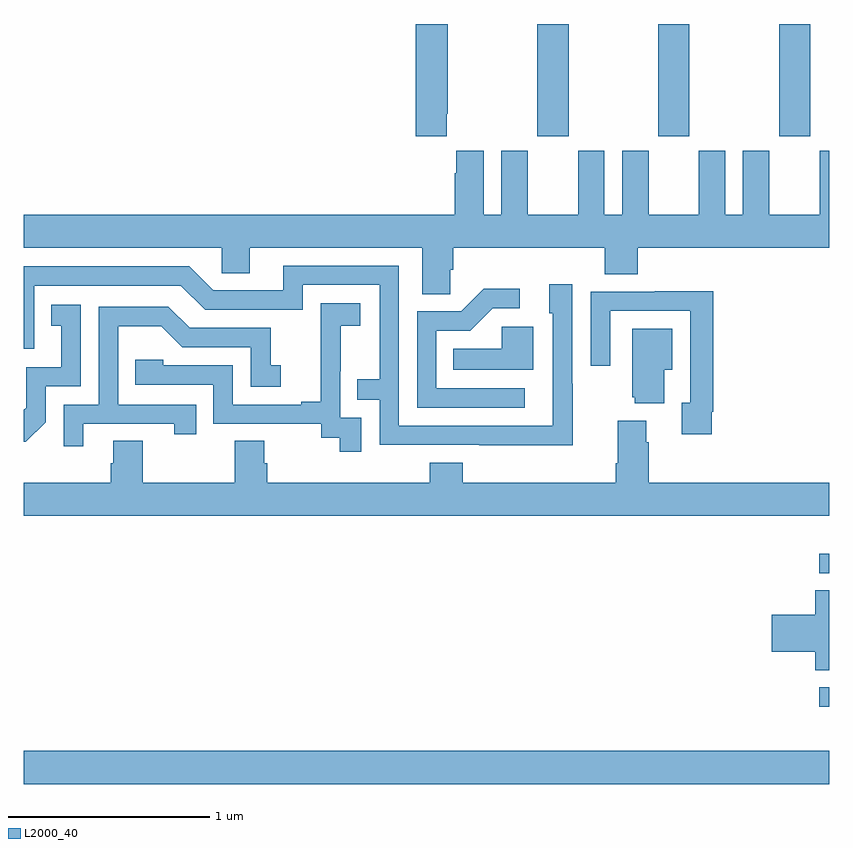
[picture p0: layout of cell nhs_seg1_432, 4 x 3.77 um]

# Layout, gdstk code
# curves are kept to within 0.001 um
import gdstk
lib = gdstk.Library(unit=1e-6, precision=1e-09)
def R(c, l, rs):  # rectangles x0, y0, x1, y1
    for r in rs: c.add(gdstk.rectangle(r[:2], r[2:], *l))
def A(c, l, x, y, w, h, nx, ny, dx, dy):  # array of equal rectangles
    R(c, l, [(x+i*dx, y+j*dy, x+i*dx+w, y+j*dy+h) for i in range(nx) for j in range(ny)])
def P(c, l, *ps):  # polygons
    for p in ps: c.add(gdstk.Polygon(p, *l))
L2000_40 = (2000, 40)

nhs_seg1_432 = lib.new_cell('nhs_seg1_432')
A(nhs_seg1_432, L2000_40, 137.551, 529.641, 0.155, 0.558, 3, 1, 0.6, 0)
R(nhs_seg1_432, L2000_40, [(135,526.424,139,526.588), (138.951,526.807,139,526.905), (138.951,527.472,139,527.568)])
P(nhs_seg1_432, L2000_40, [(137.101,529.753),(137.106,529.753),(137.106,530.199),(136.946,530.199),(136.946,529.641),(137.101,529.641)],
  [(137.118,528.979),(137.132,528.979),(137.132,529.088),(137.885,529.088),(137.885,528.955),(138.05,528.955),(138.05,529.088),(139,529.088),(139,529.57),(138.953,529.57),(138.953,529.252),(138.703,529.252),(138.703,529.57),(138.572,529.57),(138.572,529.252),(138.484,529.252),(138.484,529.57),(138.353,529.57),(138.353,529.252),(138.103,529.252),(138.103,529.57),(137.972,529.57),(137.972,529.252),(137.884,529.252),(137.884,529.57),(137.753,529.57),(137.753,529.252),(137.503,529.252),(137.503,529.57),(137.372,529.57),(137.372,529.252),(137.284,529.252),(137.284,529.57),(137.147,529.57),(137.147,529.457),(137.141,529.457),(137.141,529.252),(135,529.252),(135,529.088),(135.984,529.088),(135.984,528.961),(136.123,528.961),(136.123,529.088),(136.979,529.088),(136.979,528.856),(137.118,528.856)],
  [(137.727,528.413),(137.724,528.413),(137.724,528.907),(137.609,528.907),(137.609,528.762),(137.628,528.762),(137.627,528.204),(136.863,528.204),(136.863,528.999),(136.289,528.999),(136.289,528.876),(135.942,528.876),(135.822,528.996),(135,528.996),(135,528.585),(135.051,528.585),(135.051,528.9),(135.78,528.9),(135.9,528.78),(136.386,528.78),(136.386,528.903),(136.767,528.903),(136.767,528.434),(136.657,528.434),(136.657,528.333),(136.767,528.333),(136.767,528.108),(137.727,528.107)],
  [(137.488,528.39),(137.049,528.39),(137.049,528.675),(137.218,528.675),(137.329,528.786),(137.464,528.786),(137.464,528.884),(137.285,528.884),(137.172,528.771),(136.953,528.771),(136.953,528.294),(137.488,528.294)],
  [(138.418,528.274),(138.425,528.274),(138.425,528.872),(138.133,528.872),(138.133,528.87),(137.817,528.87),(137.817,528.501),(137.913,528.501),(137.913,528.774),(138.309,528.774),(138.309,528.318),(138.269,528.318),(138.269,528.162),(138.418,528.162)],
  [(136.677,528.243),(136.572,528.243),(136.572,528.473),(136.574,528.473),(136.574,528.701),(136.672,528.701),(136.672,528.811),(136.474,528.811),(136.474,528.605),(136.475,528.605),(136.475,528.322),(136.379,528.322),(136.379,528.309),(136.038,528.309),(136.038,528.504),(135.693,528.504),(135.693,528.531),(135.553,528.531),(135.553,528.408),(135.942,528.408),(135.942,528.213),(136.476,528.213),(136.476,528.145),(136.569,528.145),(136.569,528.075),(136.677,528.075)],
  [(135.108,528.222),(135.108,528.399),(135.282,528.399),(135.282,528.805),(135.136,528.805),(135.136,528.699),(135.185,528.699),(135.185,528.495),(135.012,528.495),(135.012,528.294),(135,528.282),(135,528.125),(135.01,528.125)],
  [(135.295,528.213),(135.746,528.213),(135.746,528.162),(135.857,528.162),(135.857,528.309),(135.468,528.309),(135.468,528.698),(135.682,528.698),(135.786,528.594),(136.128,528.594),(136.128,528.396),(136.276,528.396),(136.276,528.505),(136.227,528.505),(136.227,528.69),(135.823,528.69),(135.718,528.795),(135.372,528.795),(135.372,528.309),(135.198,528.309),(135.198,528.102),(135.295,528.102)],
  [(137.53,528.694),(137.373,528.694),(137.373,528.586),(137.134,528.586),(137.134,528.482),(137.53,528.482)],
  [(138.181,528.482),(138.22,528.482),(138.22,528.685),(138.023,528.685),(138.023,528.345),(138.035,528.345),(138.035,528.314),(138.181,528.314)],
  [(139,527.92),(138.104,527.92),(138.104,528.122),(138.091,528.122),(138.091,528.229),(137.951,528.229),(137.951,528.016),(137.939,528.016),(137.939,527.92),(137.18,527.92),(137.18,528.019),(137.015,528.019),(137.015,527.92),(136.208,527.92),(136.208,528.018),(136.195,528.018),(136.195,528.128),(136.048,528.128),(136.048,527.92),(135.591,527.92),(135.591,528.128),(135.443,528.128),(135.443,528.018),(135.431,528.018),(135.431,527.92),(135,527.92),(135,527.756),(139,527.756)],
  [(139,527.387),(138.932,527.387),(138.932,527.264),(138.714,527.264),(138.714,527.081),(138.932,527.081),(138.932,526.99),(139,526.99)])

lib.write_gds('nhs_seg1_432.gds')
